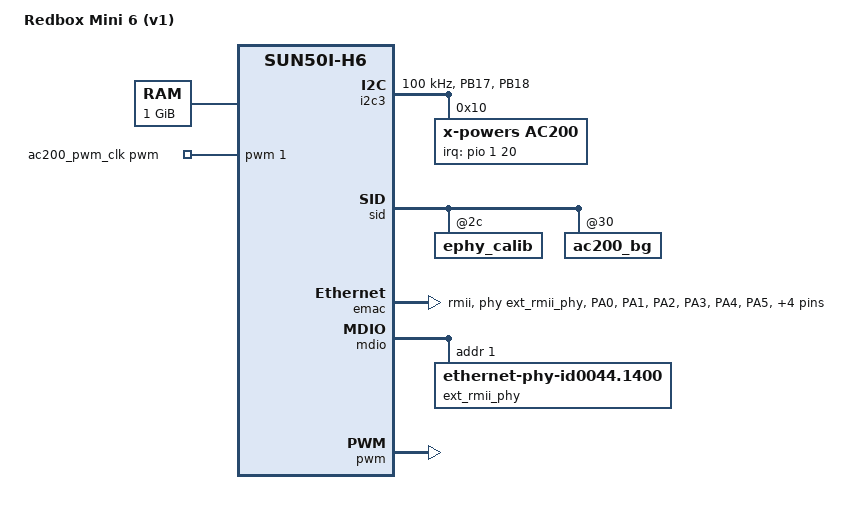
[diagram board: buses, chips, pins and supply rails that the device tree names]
// SPDX-License-Identifier: (GPL-2.0+ OR MIT)
//
// Redbox Mini 6 (v1) - A1 Belarus operator TV box
// Allwinner H6 (sun50i-h6), based on Tanix TX6 board layout
//
// Base: arch/arm64/boot/dts/allwinner/sun50i-h6-tanix-tx6.dts
// Changes vs Tanix TX6:
//   * model/compatible strings
//   * explicit 1 GB DDR3 memory node (DRAM base is 0x40000000)
//   * no internal Bluetooth (XR819 wifi has no BT); USB-BT dongle
//     works via kernel module btusb - no DTS changes needed
//   * Ethernet: AC200 EPHY nodes copied from Armbian sunxi-6.18 patches
//     (0401-arm64-dts-sun50i-h6-add-ac200-ephy.patch,
//      arm64-dts-sun50i-h6-tanix-enable-ethernet.patch) so the port comes
//     up on Armbian kernels that carry the AC200 driver
// Build:
//   cpp -nostdinc -undef -D__DTS__ -x assembler-with-cpp \
//       -I <kernel>/arch/arm64/boot/dts/allwinner \
//       -I <kernel>/include \
//       sun50i-h6-redbox-mini6.dts -o /tmp/rb6-pre.dts
//   dtc -I dts -O dtb -o sun50i-h6-redbox-mini6.dtb /tmp/rb6-pre.dts

/dts-v1/;

#include "sun50i-h6-tanix.dtsi"

/ {
	model = "Redbox Mini 6 (v1)";
	compatible = "redbox,mini6-v1", "allwinner,sun50i-h6";

	aliases {
		ethernet0 = &emac;
	};

	/* 1 GB DDR3 variant: 0x40000000 .. 0x7FFFFFFF
	 * (for a 2 GB box replace the last cell with 0x80000000
	 *  or simply drop this node and let u-boot fill in the size) */
	memory@40000000 {
		device_type = "memory";
		reg = <0x0 0x40000000 0x0 0x40000000>;
	};

	/* 24 MHz clock for the internal AC200 (PWM channel 1) */
	ac200_pwm_clk: ac200_clk {
		compatible = "pwm-clock";
		#clock-cells = <0>;
		clock-frequency = <24000000>;
		pinctrl-names = "default";
		pinctrl-0 = <&pwm1_pin>;
		pwms = <&pwm 1 42 0>;
		status = "disabled";
	};

	soc {
		i2c3: i2c@5002c00 {
			compatible = "allwinner,sun50i-h6-i2c",
				     "allwinner,sun6i-a31-i2c";
			reg = <0x05002c00 0x400>;
			interrupts = <GIC_SPI 7 IRQ_TYPE_LEVEL_HIGH>;
			clocks = <&ccu CLK_BUS_I2C3>;
			resets = <&ccu RST_BUS_I2C3>;
			pinctrl-names = "default";
			pinctrl-0 = <&i2c3_pins>;
			clock-frequency = <100000>;
			status = "disabled";
			#address-cells = <1>;
			#size-cells = <0>;

			ac200: mfd@10 {
				compatible = "x-powers,ac200";
				reg = <0x10>;
				clocks = <&ac200_pwm_clk>;
				interrupt-parent = <&pio>;
				interrupts = <1 20 IRQ_TYPE_LEVEL_LOW>;
				interrupt-controller;
				#interrupt-cells = <1>;
				nvmem-cells = <&ac200_bg>;
				nvmem-cell-names = "bandgap";

				ac200_ephy_ctl: syscon {
					compatible = "x-powers,ac200-ephy-ctl";
					nvmem-cells = <&ephy_calib>;
					nvmem-cell-names = "calibration";
					#clock-cells = <0>;
					#reset-cells = <0>;
					phy-mode = "rmii";
					status = "disabled";
				};
			};
		};
	};
};

&sid {
	ephy_calib: ephy_calib@2c {
		reg = <0x2c 0x2>;
	};

	ac200_bg: ac200_bg@30 {
		reg = <0x30 0x2>;
	};
};

&pio {
	ext_rmii_pins: rmii_pins {
		pins = "PA0", "PA1", "PA2", "PA3", "PA4",
		       "PA5", "PA6", "PA7", "PA8", "PA9";
		function = "emac";
		drive-strength = <40>;
	};

	i2c3_pins: i2c3-pins {
		pins = "PB17", "PB18";
		function = "i2c3";
		bias-pull-up;
	};

	pwm1_pin: pwm1-pin {
		pins = "PB19";
		function = "pwm1";
	};
};

&ac200_pwm_clk {
	status = "okay";
};

&ac200_ephy_ctl {
	x-powers,led-polarity = <GPIO_ACTIVE_HIGH>;
	phy-address = <1>;
	status = "okay";
};

&emac {
	pinctrl-names = "default";
	pinctrl-0 = <&ext_rmii_pins>;
	phy-mode = "rmii";
	phy-handle = <&ext_rmii_phy>;
	status = "okay";
};

&i2c3 {
	status = "okay";
};

&mdio {
	ext_rmii_phy: ethernet-phy@1 {
		compatible = "ethernet-phy-id0044.1400",
			     "ethernet-phy-ieee802.3-c22";
		reg = <1>;
		resets = <&ac200_ephy_ctl>;
		reset-names = "phy";
		clocks = <&ac200_ephy_ctl>;
	};
};

&pwm {
	status = "okay";
};

&r_ir {
	/* Mini 6 remote: keys partly overlap Tanix tables;
	 * switch to another map (e.g. rc-rc6-mce) if keys mismatch */
	linux,rc-map-name = "rc-tanix-tx5max";
};
